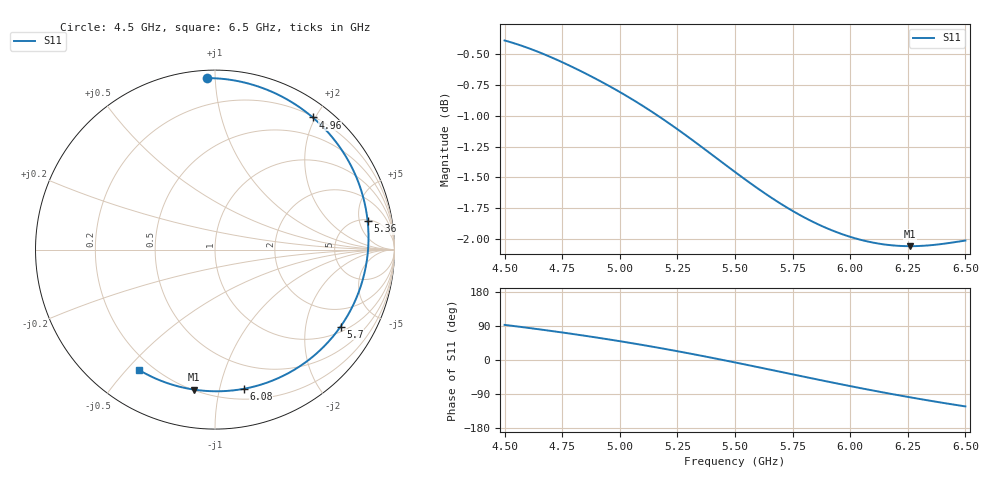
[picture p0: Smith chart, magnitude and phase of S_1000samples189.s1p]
! TOUCHSTONE file generated by CST MICROWAVE STUDIO
! Date and time: Thu Oct 27 07:43:35 2022
! Project name: L.cst
! Parameters = {Di=1.27; Epsilon_r=1.56; InnerDiameter=1.27; Length=2; Lf=10; Lg=60; OuterConductorThickness=0.2921; OuterDiameter=3.6; Wf=3; Wp=41.2; de=1.5; df=6.8; g=0.8; gx=4.76714; gy=2.64946; h=2.34; hf=1.524; px=11.6019; py=8.3504; w=9.7; wx=6.83479; wy=5.70094}
! Header version: 2018
! Port assignment regex: !\s*Touchstone port\s*([0-9]+)\s*=\s*(CST MWS port|CST DS port)\s*([0-9]+|Zmin|Zmax)\s*\(\"(.*)\"\)(\s*mode\s*([0-9]+))?.*
! Touchstone port assignment:
! Touchstone port 1 = CST MWS port 1 ("")
# GHz S DB R 50
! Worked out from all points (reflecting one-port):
!   101 points, 4.5 GHz to 6.5 GHz, reference 50 ohm
!   lowest |S11| = -2.1 dB at 6.26 GHz (marker M1), VSWR 8.47, Z = 10.2 - j42.1 ohm
!   phase of S11 starts at 93 deg and turns -215 deg over the sweep
!   S11 on the Smith chart (normalised r, x): 4.5 GHz: 0.04, +0.95; 4.96 GHz: 0.21, +1.96; 5.36 GHz: 5.34, +6.68; 5.7 GHz: 1.19, -3.13; 6.08 GHz: 0.29, -1.19; 6.5 GHz: 0.15, -0.54
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4.5  -0.39 92.7
4.58  -0.43 86.5
4.64  -0.47 81.8
4.76  -0.57 71.7
4.86  -0.66 62.9
4.96  -0.76 53.5
5  -0.81 49.6
5.06  -0.87 43.6
5.14  -0.97 35.3
5.2  -1.04 28.8
5.26  -1.12 22.1
5.32  -1.20 15.2
5.36  -1.26 10.5
5.44  -1.37 0.9
5.5  -1.46 -6.4
5.54  -1.51 -11.4
5.6  -1.59 -18.9
5.7  -1.72 -31.5
5.76  -1.78 -39.1
5.82  -1.85 -46.7
5.88  -1.90 -54.2
5.94  -1.95 -61.6
6  -1.98 -68.9
6.08  -2.02 -78.3
6.16  -2.05 -87.5
6.26  -2.06 -98.4
6.38  -2.05 -110.8
6.5  -2.02 -122.5
